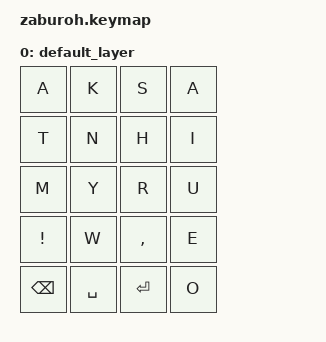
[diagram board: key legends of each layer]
// This file was generated from a template. Edit it to match your keyboard.
// See https://zmk.dev/docs/development/hardware-integration/new-shield for more instructions.

#include <behaviors.dtsi>
#include <dt-bindings/zmk/keys.h>

/ {
    // Define a default keymap here.
    // See https://zmk.dev/docs/development/hardware-integration/new-shield#default-keymap.
    keymap {
        compatible = "zmk,keymap";

        default_layer {
            bindings = <
                &kp A &kp K &kp S &kp A
                &kp T &kp N &kp H &kp I
                &kp M &kp Y &kp R &kp U
                &kp EXCLAMATION &kp W &kp COMMA &kp E
                &kp BACKSPACE &kp SPACE &kp RETURN &kp O
            >;
        };
    };
};
